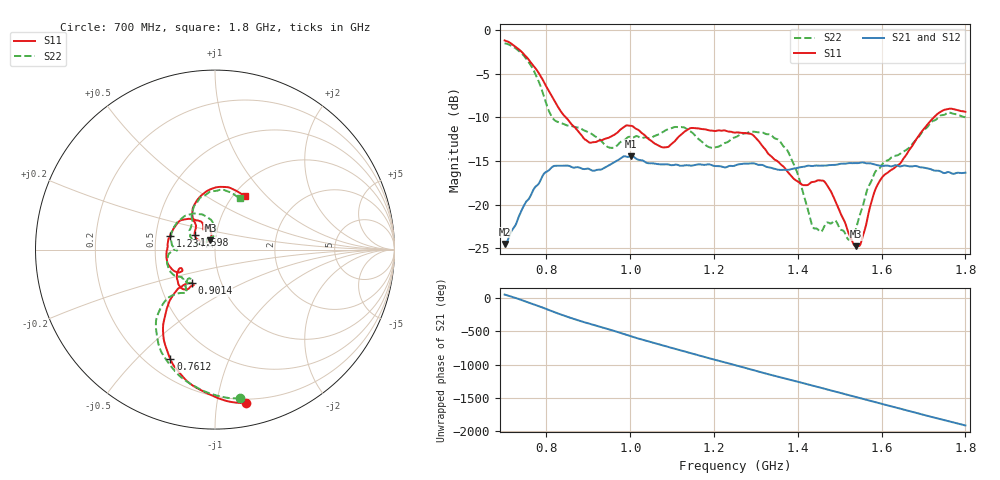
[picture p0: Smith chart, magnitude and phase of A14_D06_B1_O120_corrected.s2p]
! Created with skrf 1.9.0 (http://scikit-rf.org).
# Hz S RI R 50.0
!freq ReS11 ImS11 ReS21 ImS21 ReS12 ImS12 ReS22 ImS22
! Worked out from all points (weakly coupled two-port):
!   1601 points, 700 MHz to 1.8 GHz, reference 50 ohm
!   highest |S21| = -14.45 dB at 1.002 GHz (marker M1); lowest = -24.5 dB at 700 MHz (marker M2)
!   lowest |S11| = -24.8 dB at 1.538 GHz (marker M3), VSWR 1.12, Z = 47.2 + j4.9 ohm
!   |S11| at or under -10 dB: 846.2 MHz to 1.725 GHz (878.5 MHz wide, 68.3 % of centre)
!   |S22| runs from -24.0 to -1.5 dB; largest |S21 - S12| = 0.0034
!   S11 on the Smith chart (normalised r, x): 700 MHz: 0.17, -1.21; 761.2 MHz: 0.29, -0.63; 901.4 MHz: 0.72, -0.29; 1.234 GHz: 0.59, +0.10; 1.598 GHz: 0.79, +0.13; 1.8 GHz: 1.13, +0.76
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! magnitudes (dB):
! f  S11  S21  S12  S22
! 700 MHz  -1.2  -24.5  -24.3  -1.5
! 761.2 MHz  -3.6  -19.1  -19.0  -3.9
! 816.2 MHz  -7.9  -15.6  -15.7  -10.2
! 883.6 MHz  -12.0  -15.9  -15.7  -11.3
! 901.4 MHz  -12.9  -15.9  -15.9  -11.7
! 953.7 MHz  -12.2  -15.4  -15.4  -13.5
! 1.002 GHz  -11.0  -14.4  -14.6  -12.3
! 1.067 GHz  -13.2  -15.4  -15.3  -12.0
! 1.145 GHz  -11.2  -15.5  -15.5  -11.7
! 1.192 GHz  -11.5  -15.4  -15.4  -13.5
! 1.234 GHz  -11.6  -15.6  -15.6  -12.8
! 1.25 GHz  -11.7  -15.5  -15.5  -12.3
! 1.357 GHz  -15.3  -16.0  -16.0  -12.7
! 1.395 GHz  -17.2  -15.8  -15.8  -15.9
! 1.434 GHz  -17.4  -15.6  -15.5  -22.3
! 1.469 GHz  -17.7  -15.5  -15.5  -22.1
! 1.522 GHz  -23.3  -15.2  -15.3  -24.0
! 1.538 GHz  -24.8  -15.2  -15.2  -22.9
! 1.598 GHz  -17.1  -15.5  -15.5  -15.7
! 1.617 GHz  -16.2  -15.6  -15.5  -14.9
! 1.734 GHz  -9.6  -16.1  -16.2  -10.1
! 1.8 GHz  -9.4  -16.3  -16.3  -10.0
